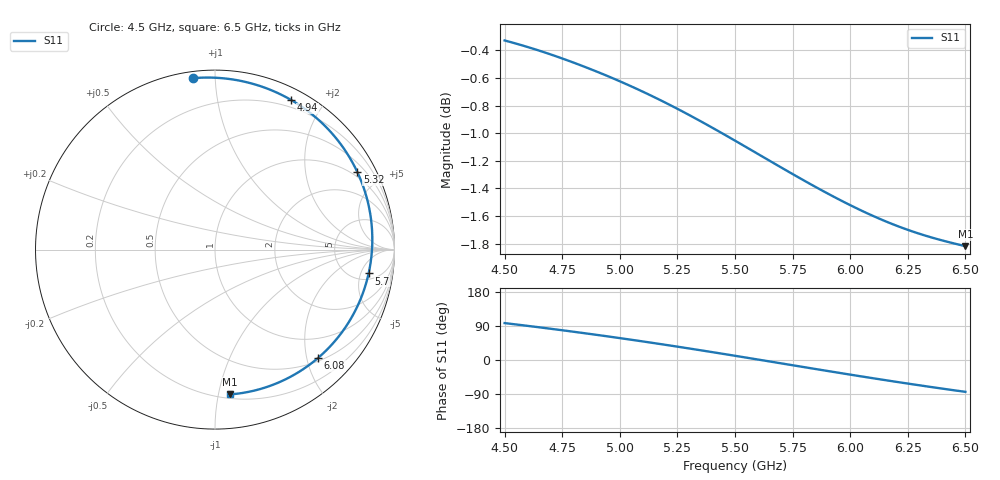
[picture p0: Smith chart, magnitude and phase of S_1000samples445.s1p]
! TOUCHSTONE file generated by CST MICROWAVE STUDIO
! Date and time: Fri Oct 28 04:58:23 2022
! Project name: L.cst
! Parameters = {Di=1.27; Epsilon_r=1.56; InnerDiameter=1.27; Length=2; Lf=10; Lg=60; OuterConductorThickness=0.2921; OuterDiameter=3.6; Wf=3; Wp=41.2; de=1.5; df=6.8; g=0.8; gx=4.49786; gy=4.53408; h=2.34; hf=1.524; px=11.9324; py=8.01935; w=9.7; wx=7.43457; wy=3.48527}
! Header version: 2018
! Port assignment regex: !\s*Touchstone port\s*([0-9]+)\s*=\s*(CST MWS port|CST DS port)\s*([0-9]+|Zmin|Zmax)\s*\(\"(.*)\"\)(\s*mode\s*([0-9]+))?.*
! Touchstone port assignment:
! Touchstone port 1 = CST MWS port 1 ("")
# GHz S DB R 50
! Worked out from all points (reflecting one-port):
!   101 points, 4.5 GHz to 6.5 GHz, reference 50 ohm
!   lowest |S11| = -1.8 dB at 6.5 GHz (marker M1), VSWR 9.59, Z = 11.5 - j54.1 ohm
!   phase of S11 starts at 97 deg and turns -181 deg over the sweep
!   S11 on the Smith chart (normalised r, x): 4.5 GHz: 0.03, +0.88; 4.94 GHz: 0.12, +1.63; 5.32 GHz: 0.80, +3.76; 5.7 GHz: 6.51, -6.92; 6.08 GHz: 0.56, -2.22; 6.5 GHz: 0.23, -1.08
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4.5  -0.33 97.4
4.58  -0.37 91.5
4.64  -0.40 87.0
4.7  -0.43 82.4
4.76  -0.46 77.7
4.86  -0.53 69.6
4.94  -0.58 62.9
5  -0.62 57.8
5.06  -0.67 52.5
5.12  -0.72 47.2
5.2  -0.78 39.9
5.26  -0.83 34.3
5.32  -0.89 28.6
5.42  -0.98 19.0
5.5  -1.05 11.1
5.6  -1.15 1.2
5.7  -1.25 -8.8
5.76  -1.31 -14.8
5.82  -1.36 -20.8
5.88  -1.42 -26.8
6  -1.52 -38.6
6.08  -1.59 -46.3
6.16  -1.64 -53.9
6.26  -1.71 -63.1
6.32  -1.74 -68.5
6.38  -1.77 -73.8
6.44  -1.79 -79.0
6.5  -1.82 -84.1
